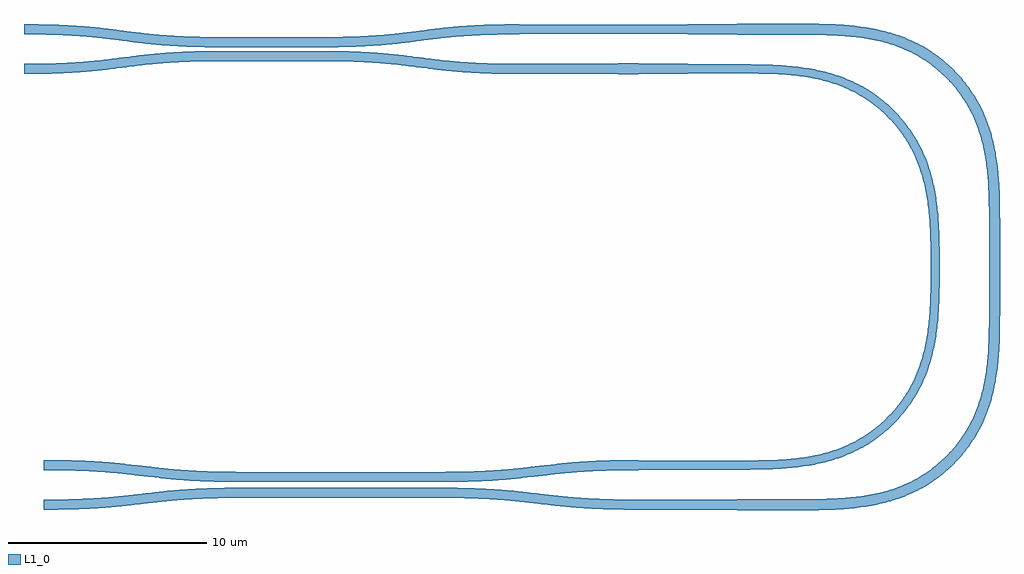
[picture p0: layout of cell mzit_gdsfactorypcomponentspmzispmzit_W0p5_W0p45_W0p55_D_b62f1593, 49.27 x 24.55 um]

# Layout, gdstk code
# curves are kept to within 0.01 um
from math import pi, radians
import gdstk
lib = gdstk.Library(unit=1e-6, precision=1e-09)
def R(c, l, rs):  # rectangles x0, y0, x1, y1
    for r in rs: c.add(gdstk.rectangle(r[:2], r[2:], *l))
def P(c, l, *ps):  # polygons
    for p in ps: c.add(gdstk.Polygon(p, *l))
L1_0 = (1, 0)

coupler_gdsfactorypcompo = lib.new_cell('coupler_gdsfactorypcomponentspcouplerspcoupler_G0p3_L10_de55e7a7')
P(coupler_gdsfactorypcompo, L1_0, [(-10,-0.85),(-10,-0.35),(-8.622,-0.333),(-7.193,-0.267),(-6.209,-0.185),(-3.406,0.123),(-2.431,0.191),(-1.135,0.239),(-0.152,0.25),(10.152,0.25),(11.265,0.236),(12.431,0.191),(13.406,0.123),(16.209,-0.185),(17.193,-0.267),(18.622,-0.333),(20,-0.35),(20,-0.85),(18.735,-0.836),(17.361,-0.779),(16.244,-0.691),(13.956,-0.432),(12.903,-0.34),(11.501,-0.271),(10.151,-0.25),(-0.151,-0.25),(-1.378,-0.267),(-2.507,-0.314),(-3.451,-0.383),(-5.91,-0.657),(-7.16,-0.766),(-8.484,-0.829)],
  [(-0.152,0.55),(-1.876,0.583),(-3.035,0.648),(-4.09,0.743),(-6.209,0.985),(-7.391,1.08),(-8.622,1.133),(-10,1.15),(-10,1.65),(-8.735,1.636),(-7.361,1.579),(-6.244,1.491),(-3.956,1.232),(-2.903,1.14),(-1.501,1.071),(-0.151,1.05),(10.151,1.05),(11.378,1.067),(12.507,1.114),(13.451,1.183),(15.91,1.457),(17.16,1.566),(18.484,1.629),(20,1.65),(20,1.15),(18.622,1.133),(17.193,1.067),(16.044,0.968),(13.756,0.709),(12.431,0.609),(11.265,0.564),(10.152,0.55)])

taper_gdsfactorypcompone = lib.new_cell('taper_gdsfactorypcomponentsptapersptaper_L5_W0p5_W0p45__69eccf19')
P(taper_gdsfactorypcompone, L1_0, [(0,-0.25),(0,0.25),(5,0.225),(5,-0.225)])

bend_euler_gdsfactorypco = lib.new_cell('bend_euler_gdsfactorypcomponentspbendspbend_euler_RNone_ca983cd9')
P(bend_euler_gdsfactorypco, L1_0, [(0,-0.225),(0,0.225),(1.656,0.244),(2.34,0.28),(3.019,0.344),(3.558,0.421),(4.09,0.525),(4.613,0.659),(4.998,0.782),(5.375,0.926),(5.742,1.091),(6.099,1.277),(6.444,1.484),(6.991,1.873),(7.299,2.131),(7.592,2.408),(7.869,2.701),(8.127,3.009),(8.516,3.556),(8.723,3.901),(8.909,4.258),(9.074,4.625),(9.218,5.002),(9.341,5.387),(9.475,5.91),(9.579,6.442),(9.656,6.981),(9.72,7.66),(9.756,8.344),(9.775,10),(10.225,10),(10.21,8.468),(10.178,7.768),(10.133,7.208),(9.999,6.229),(9.882,5.673),(9.773,5.261),(9.643,4.854),(9.434,4.322),(9.25,3.934),(9.044,3.557),(8.817,3.194),(8.568,2.844),(8.299,2.51),(7.911,2.089),(7.49,1.701),(7.156,1.432),(6.806,1.183),(6.443,0.956),(6.066,0.75),(5.678,0.566),(5.146,0.357),(4.739,0.227),(4.327,0.118),(3.771,0.001),(2.792,-0.133),(2.232,-0.178),(1.532,-0.21)])

c_taper_gdsfactorypcompone = lib.new_cell('taper_gdsfactorypcomponentsptapersptaper_L5_W0p45_W0p55_0c13ccff')
P(c_taper_gdsfactorypcompone, L1_0, [(5,-0.275),(0,-0.225),(0,0.225),(5,0.275)])

straight_gdsfactorypcomp = lib.new_cell('straight_gdsfactorypcomponentspwaveguidespstraight_L1_N_5fbfa602')
R(straight_gdsfactorypcomp, L1_0, [(0,-0.275,1,0.275)])

c_taper_gdsfactorypcompone_ = lib.new_cell('taper_gdsfactorypcomponentsptapersptaper_L5_W0p55_W0p5__e1c8a87b')
P(c_taper_gdsfactorypcompone_, L1_0, [(0,-0.275),(0,0.275),(5,0.25),(5,-0.25)])

c_taper_gdsfactorypcompone__ = lib.new_cell('taper_gdsfactorypcomponentsptapersptaper_L5_W0p5_W0p55__7fca8cd1')
P(c_taper_gdsfactorypcompone__, L1_0, [(5,-0.275),(0,-0.25),(0,0.25),(5,0.275)])

c_straight_gdsfactorypcomp = lib.new_cell('straight_gdsfactorypcomponentspwaveguidespstraight_L3_N_7ef1834c')
R(c_straight_gdsfactorypcomp, L1_0, [(0,-0.275,3,0.275)])

c_bend_euler_gdsfactorypco = lib.new_cell('bend_euler_gdsfactorypcomponentspbendspbend_euler_RNone_d127dd23')
P(c_bend_euler_gdsfactorypco, L1_0, [(0,-0.275),(0,0.275),(1.654,0.294),(2.336,0.33),(2.878,0.378),(3.549,0.47),(4.079,0.574),(4.599,0.707),(5.107,0.875),(5.478,1.024),(5.839,1.195),(6.417,1.526),(6.96,1.912),(7.266,2.169),(7.557,2.443),(7.831,2.734),(8.088,3.04),(8.474,3.583),(8.805,4.161),(8.976,4.522),(9.125,4.893),(9.293,5.401),(9.426,5.921),(9.53,6.451),(9.622,7.122),(9.67,7.664),(9.706,8.346),(9.725,10),(10.275,10),(10.26,8.467),(10.228,7.765),(10.183,7.203),(10.116,6.641),(10.048,6.22),(9.931,5.662),(9.821,5.247),(9.69,4.837),(9.48,4.302),(9.295,3.911),(9.088,3.532),(8.777,3.047),(8.52,2.7),(8.242,2.368),(7.946,2.054),(7.632,1.758),(7.3,1.48),(6.953,1.223),(6.468,0.912),(6.089,0.705),(5.698,0.52),(5.163,0.31),(4.753,0.179),(4.338,0.069),(3.78,-0.048),(3.359,-0.116),(2.797,-0.183),(2.235,-0.228),(1.533,-0.26)])

c_straight_gdsfactorypcomp_ = lib.new_cell('straight_gdsfactorypcomponentspwaveguidespstraight_L4_N_82fcb63a')
R(c_straight_gdsfactorypcomp_, L1_0, [(0,-0.275,4,0.275)])

c_taper_gdsfactorypcompone___ = lib.new_cell('taper_gdsfactorypcomponentsptapersptaper_L5_W0p55_W0p45_5c6a2317')
P(c_taper_gdsfactorypcompone___, L1_0, [(0,-0.275),(0,0.275),(5,0.225),(5,-0.225)])

c_straight_gdsfactorypcomp__ = lib.new_cell('straight_gdsfactorypcomponentspwaveguidespstraight_L1_N_8f87aff2')
R(c_straight_gdsfactorypcomp__, L1_0, [(0,-0.225,1,0.225)])

c_taper_gdsfactorypcompone____ = lib.new_cell('taper_gdsfactorypcomponentsptapersptaper_L5_W0p45_W0p5__c017326a')
P(c_taper_gdsfactorypcompone____, L1_0, [(5,-0.25),(0,-0.225),(0,0.225),(5,0.25)])

c_coupler_gdsfactorypcompo = lib.new_cell('coupler_gdsfactorypcomponentspcouplerspcoupler_G0p2_L5__7de5f5a9')
P(c_coupler_gdsfactorypcompo, L1_0, [(-10,-0.9),(-10,-0.4),(-8.622,-0.381),(-7.195,-0.31),(-5.965,-0.194),(-4.334,0.012),(-3.408,0.112),(-2.325,0.192),(-1.136,0.238),(-0.152,0.25),(5.152,0.25),(6.759,0.219),(7.64,0.173),(8.585,0.095),(10.965,-0.194),(12.098,-0.303),(13.379,-0.373),(15,-0.4),(15,-0.9),(13.608,-0.881),(12.36,-0.823),(11.157,-0.718),(9.035,-0.456),(7.902,-0.347),(6.739,-0.281),(5.151,-0.25),(-0.151,-0.25),(-1.739,-0.281),(-2.607,-0.326),(-3.449,-0.394),(-5.99,-0.7),(-7.158,-0.809),(-8.483,-0.877)],
  [(-0.152,0.45),(-1.759,0.481),(-3.036,0.556),(-4.01,0.65),(-6.294,0.93),(-7.393,1.024),(-8.748,1.085),(-10,1.1),(-10,1.6),(-8.608,1.581),(-7.36,1.523),(-6.157,1.418),(-4.035,1.156),(-2.902,1.047),(-1.739,0.981),(-0.151,0.95),(5.151,0.95),(6.739,0.981),(7.607,1.026),(8.449,1.094),(10.99,1.4),(12.158,1.509),(13.483,1.577),(15,1.6),(15,1.1),(13.379,1.073),(12.098,1.003),(10.965,0.894),(9.01,0.65),(7.842,0.541),(6.759,0.481),(5.591,0.453)])

mzit_gdsfactorypcomponen = lib.new_cell('mzit_gdsfactorypcomponentspmzispmzit_W0p5_W0p45_W0p55_D_b62f1593')
mzit_gdsfactorypcomponen.add(gdstk.Reference(coupler_gdsfactorypcompo, (0,0)))
mzit_gdsfactorypcomponen.add(gdstk.Reference(taper_gdsfactorypcompone, (20,1.4)))
mzit_gdsfactorypcomponen.add(gdstk.Reference(bend_euler_gdsfactorypco, (35,11.4), rotation=pi/2))
mzit_gdsfactorypcomponen.add(gdstk.Reference(bend_euler_gdsfactorypco, (25,1.4)))
mzit_gdsfactorypcomponen.add(gdstk.Reference(c_taper_gdsfactorypcompone, (25,21.4), rotation=pi))
mzit_gdsfactorypcomponen.add(gdstk.Reference(straight_gdsfactorypcomp, (20,21.4), rotation=pi))
mzit_gdsfactorypcomponen.add(gdstk.Reference(c_taper_gdsfactorypcompone_, (19,21.4), rotation=pi))
mzit_gdsfactorypcomponen.add(gdstk.Reference(c_taper_gdsfactorypcompone__, (20,-0.6)))
mzit_gdsfactorypcomponen.add(gdstk.Reference(c_straight_gdsfactorypcomp, (25,-0.6)))
mzit_gdsfactorypcomponen.add(gdstk.Reference(c_bend_euler_gdsfactorypco, (38,13.4), rotation=pi/2))
mzit_gdsfactorypcomponen.add(gdstk.Reference(c_bend_euler_gdsfactorypco, (28,-0.6)))
mzit_gdsfactorypcomponen.add(gdstk.Reference(c_straight_gdsfactorypcomp_, (38,9.4), rotation=pi/2))
mzit_gdsfactorypcomponen.add(gdstk.Reference(c_straight_gdsfactorypcomp, (28,23.4), rotation=pi))
mzit_gdsfactorypcomponen.add(gdstk.Reference(c_taper_gdsfactorypcompone___, (25,23.4), rotation=pi))
mzit_gdsfactorypcomponen.add(gdstk.Reference(c_straight_gdsfactorypcomp__, (20,23.4), rotation=pi))
mzit_gdsfactorypcomponen.add(gdstk.Reference(c_taper_gdsfactorypcompone____, (19,23.4), rotation=pi))
mzit_gdsfactorypcomponen.add(gdstk.Reference(c_coupler_gdsfactorypcompo, (-1,22.05)))

lib.write_gds('mzit_gdsfactorypcomponentspmzispmzit_W0p5_W0p45_W0p55_D_b62f1593.gds')
